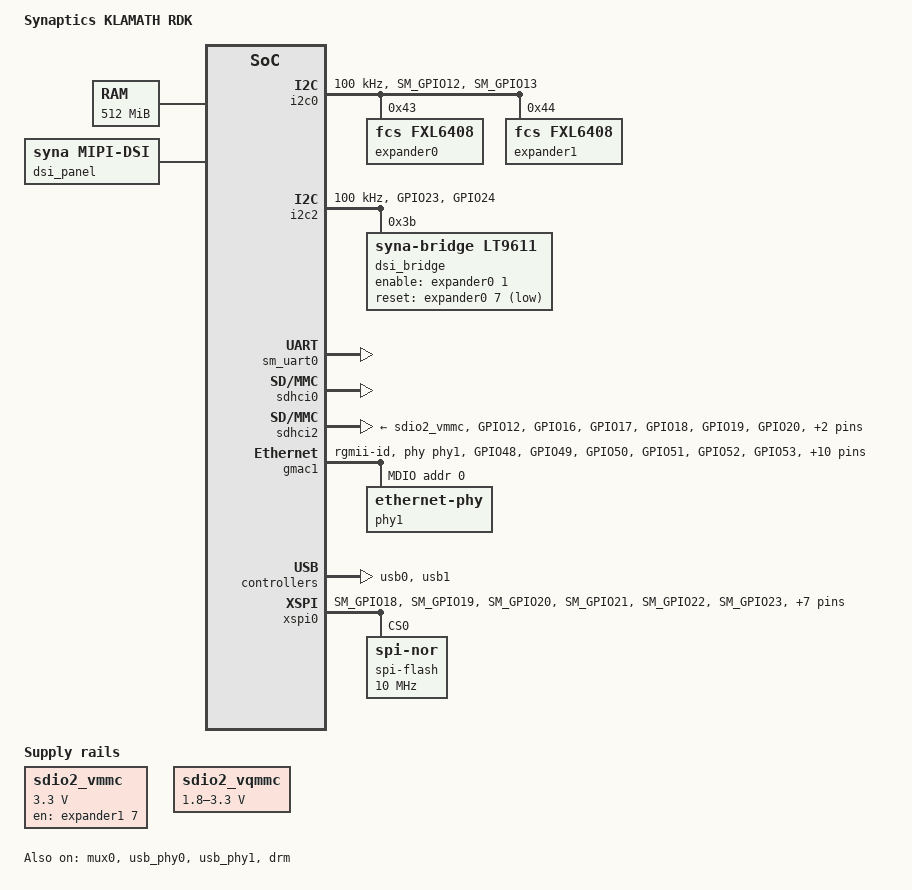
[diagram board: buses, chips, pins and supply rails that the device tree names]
// SPDX-License-Identifier: GPL-2.0+
/*
 * Copyright (C) 2016~2025 Synaptics Incorporated. All rights reserved.
 *
 * This program is free software; you can redistribute it and/or modify
 * it under the terms of the GNU General Public License version 2 or
 * later as published by the Free Software Foundation.
 *
 * INFORMATION CONTAINED IN THIS DOCUMENT IS PROVIDED "AS-IS," AND
 * SYNAPTICS EXPRESSLY DISCLAIMS ALL EXPRESS AND IMPLIED WARRANTIES,
 * INCLUDING ANY IMPLIED WARRANTIES OF MERCHANTABILITY AND FITNESS FOR
 * A PARTICULAR PURPOSE, AND ANY WARRANTIES OF NON-INFRINGEMENT OF ANY
 * INTELLECTUAL PROPERTY RIGHTS. IN NO EVENT SHALL SYNAPTICS BE LIABLE
 * FOR ANY DIRECT, INDIRECT, INCIDENTAL, SPECIAL, PUNITIVE, OR
 * CONSEQUENTIAL DAMAGES ARISING OUT OF OR IN CONNECTION WITH THE USE
 * OF THE INFORMATION CONTAINED IN THIS DOCUMENT, HOWEVER CAUSED AND
 * BASED ON ANY THEORY OF LIABILITY, WHETHER IN AN ACTION OF CONTRACT,
 * NEGLIGENCE OR OTHER TORTIOUS ACTION, AND EVEN IF SYNAPTICS WAS
 * ADVISED OF THE POSSIBILITY OF SUCH DAMAGE. IF A TRIBUNAL OF
 * COMPETENT JURISDICTION DOES NOT PERMIT THE DISCLAIMER OF DIRECT
 * DAMAGES OR ANY OTHER DAMAGES, SYNAPTICS' TOTAL CUMULATIVE LIABILITY
 * TO ANY PARTY SHALL NOT EXCEED ONE HUNDRED U.S. DOLLARS.
 */

/dts-v1/;

#include "klamath.dtsi"
#include <dt-bindings/gpio/gpio.h>

/ {
	model = "Synaptics KLAMATH RDK";
	compatible = "Synaptics,klamath", "Synaptics,asserial";

	memory {
		device_type = "memory";
		reg = <0 0 0 0x20000000>;
	};

	chosen {
		stdout-path = &sm_uart0;
	};

	regulators {
		compatible = "simple-bus";
		#address-cells = <1>;
		#size-cells = <0>;

		sdio2_vmmc: sdio2-vmmc {
			compatible = "regulator-fixed";
			regulator-min-microvolt = <3300000>;
			regulator-max-microvolt = <3300000>;
			regulator-name = "vmmc_sdio";
			enable-active-high;
			gpio = <&expander1 7 GPIO_ACTIVE_HIGH>;
		};

		sdio2_vqmmc: sdio2-vqmmc {
			compatible = "regulator-gpio";
			pinctrl-names = "default";
			regulator-min-microvolt = <1800000>;
			regulator-max-microvolt = <3300000>;
			regulator-name = "vqmmc_sdio";
			regulator-type = "voltage";
			states = <1800000 0x1 3300000 0x0>;
			gpios = <&expander0 0 GPIO_ACTIVE_HIGH>;
		};
	};
};

&pinctrl {
	sdio2_pmux: sdio2-pmux {
		groups = "GPIO12", "GPIO16", "GPIO17", "GPIO18", "GPIO19",
				 "GPIO20", "GPIO21", "GPIO22";
		function = "sdio2";
	};

	mdio_pmux: mdio-pmux {
		groups = "GPIO31", "GPIO32";
		function = "rgmii";
	};

	eth1_pmux: eth1-pmux {
		groups = "GPIO48", "GPIO49", "GPIO50", "GPIO51", "GPIO52",
				 "GPIO53", "GPIO54", "GPIO55", "GPIO56", "GPIO57",
				 "GPIO58", "GPIO59";
		function = "rgmii2";
	};

	i2c2_pmux: i2c2-pmux {
		groups = "GPIO23", "GPIO24";
		function = "tw2";
	};
};

&sysmgr_pinctrl {
	i2c0_pmux: i2c0-pmux {
		groups = "SM_GPIO12", "SM_GPIO13";
		function = "tw0";
	};

	xspi0_pmux: xspi0-pmux {
		groups = "SM_GPIO18", "SM_GPIO19", "SM_GPIO20", "SM_GPIO21",
				 "SM_GPIO22", "SM_GPIO23", "SM_GPIO24", "SM_GPIO25",
				 "SM_GPIO26", "SM_GPIO27", "SM_GPIO28", "SM_GPIO29",
				 "SM_GPIO30";
		function = "xspi";
	};

	eth1_phy1_rst_pmux: eth1_phy1_rst_pmux {
		groups = "SM_GPIO35";
		function = "gpio";
	};
};

&i2c0 {
	status = "okay";
	pinctrl-0 = <&i2c0_pmux>;
	pinctrl-names = "default";
	clock-frequency = <100000>;
	i2c-sda-hold-time-ns = <449>;
	i2c-scl-rising-time-ns = <120>;
	i2c-scl-falling-time-ns = <20>;

	expander0: gpio@43 {
		compatible = "fcs,fxl6408";
		reg = <0x43>;
		gpio-controller;
		#gpio-cells = <2>;
	};

	expander1: gpio@44 {
		compatible = "fcs,fxl6408";
		reg = <0x44>;
		gpio-controller;
		#gpio-cells = <2>;
	};
};

&i2c2 {
	status = "okay";
	pinctrl-names = "default";
	pinctrl-0 = <&i2c2_pmux>;
	clock-frequency = <100000>;

	dsi_bridge: lt9611@3b {
		compatible = "syna-bridge,lt9611";
		reg = <0x3b>;
		status = "okay";
		enable-gpio = <&expander0 1 0>;
		reset-gpio = <&expander0 7 1>;
	};
};

&sm_uart0 {
	status = "okay";
};

&sdhci0 {
	status = "okay";
	pad_sn = <10>;
	pad_sp = <10>;
	mmc-ddr-1_8v;
	mmc-hs200-1_8v;
	mmc-hs400-1_8v;
	fixed-voltage;
};

&mux0 {
	status = "okay";
};

&sdhci2 {
	status="okay";
	pinctrl-0 = <&sdio2_pmux>;
	pinctrl-names = "default";
	sdhci-sdio;
	sd-uhs-sdr50;
	fixed-voltage;
	skip-phy;
	vmmc-supply = <&sdio2_vmmc>;
	vqmmc-supply = <&sdio2_vqmmc>;
	mux-controls = <&mux0 0>;
	mux-control-names = "mux-0";
	mux-0-value = <3>;
};

&gmac1 {
	status = "okay";
	phy-mode = "rgmii-id";
	phy-handle = <&phy1>;
	phy = <&phy1>;
	phy-reset-gpios = <&portf 3 GPIO_ACTIVE_HIGH>;
	pinctrl-names = "default";
	pinctrl-0 = <&eth1_pmux>, <&mdio_pmux>, <&eth1_phy1_rst_pmux>;

	mdio {
		#address-cells = <1>;
		#size-cells = <0>;
		phy1: ethernet-phy@0 {
			reg = <0>;
		};
	};
};

&usb_phy0 {
	status = "okay";
};

&usb0 {
	compatible = "snps,dwc2-udc";
	status = "okay";
};

&usb_phy1 {
	status = "okay";
};

&usb1 {
	compatible = "snps,dwc2-host";
	status = "okay";
};

&xspi0 {
	status = "okay";
	pinctrl-0 = <&xspi0_pmux>;
	pinctrl-names = "default";

	spi-flash@0 {
		#address-cells = <1>;
		#size-cells = <1>;
		compatible = "jedec,spi-nor";
		reg = <0>;
		spi-max-frequency = <10000000>;
		spi-tx-bus-width = <4>;
		spi-rx-bus-width = <4>;
	};
};

&drm {
	status = "okay";
	irqno = <69>;
	hdmitx_enable = <0>;
	disp-mode = <2>;
	disp1-bits_per_pixel = <24>;
	disp1-busformat = <0>;
	disp2-bits_per_pixel = <24>;
	disp2-busformat = <0>;

	lcdc_panel {
		status = "disabled";
		hact = <800>;
		hfp = <210>;
		hsa = <2>;
		hbp = <46>;
		vact = <480>;
		vfp = <22>;
		vsa = <2>;
		vbp = <23>;
		pixclockKhz = <33300>;
		rgbswap = <1>;
	};

	dsi_panel {
		compatible = "syna,mipi-dsi";
		status= "okay";

		NO_OF_RESID =  <1>;
		DSI_RES =  <102>;

		/* 1920x1080@60Hz for LT9611→HDMI output */
		ACTIVE_WIDTH = <1920>;
		HFP = <88>;
		HSYNCWIDTH = <44>;
		HBP = <148>;
		ACTIVE_HEIGHT = <1080>;
		VFP = <4>;
		VSYNCWIDTH = <5>;
		VBP = <36>;
		TYPE = <1>;
		SCAN = <0>;
		FRAME_RATE = <60>;
		FLAG_3D = <0>;
		FREQ = <148500>;
		PTS_PER_4 = <6000>;

		bits_per_pixel = <24>;
		busformat = <0>;

		VB_MIN = /bits/ 8 <6>;
		HB_MIN = /bits/ 8 <30>;
		V_OFF = /bits/ 8 <6>;
		H_OFF = /bits/ 8 <20>;
		HB_VOP_OFF = /bits/ 8 <8>;
		VB_VOP_OFF = /bits/ 8 <3>;
		HB_BE = /bits/ 8 <7>;
		VB_BE = /bits/ 8 <2>;
		VB_FP = /bits/ 8 <2>;
		HB_FP = /bits/ 8 <10>;
		PIXEL_CLOCK = <148500>;  /* 1080p60 pixel clock */

		HTOTAL = <2200>;  /* 1920 + 88 + 44 + 148 */
		Lanes = /bits/ 8 <4>;  /* 4 lanes for 1080p */
		Vid_mode = /bits/ 8 <2>;
		virtual_chan = /bits/ 8 <0>;
		Clk_Lane_Polarity = /bits/ 8 <0>;
		Data_Lane_Polarity = /bits/ 8 <0>;
		Recv_ack = /bits/ 8 <0>;
		Loosely_18 = /bits/ 8 <0>;
		H_polarity = /bits/ 8 <1>;
		V_Polarity = /bits/ 8 <1>;
		Data_Polarity = /bits/ 8 <1>;
		Eotp_tx = /bits/ 8 <1>;
		Eotp_rx = /bits/ 8 <0>;
		non-Continuous_clk = /bits/ 8 <0>;
		dpi_lp_cmd = /bits/ 8 <1>;
		Color_coding = /bits/ 8 <5>;
		Chunks = <0>;
		Null_Pkt = <0>;
		Byte_clk = <148500>;
		rgbswap = <0>;

		/*
		 * COMMAND= Command for initialisation
		 * Format - <CMD> <Payloadlength-n> <BYTE1> <...> <BYTEn>
		 * Long write Ex: 39 04 FF 98 81 03
		 *
		 * Delay in micro seconds Command format: 0xFF <4BYTE delay>
		 * Delay for 100ms(100000us => 0x000186A0)
		 *     - FF A0 86 01 00
		 */
		command = /bits/ 8 <0xFF 0x10 0x27 0x00 0x00>;
	};
};

